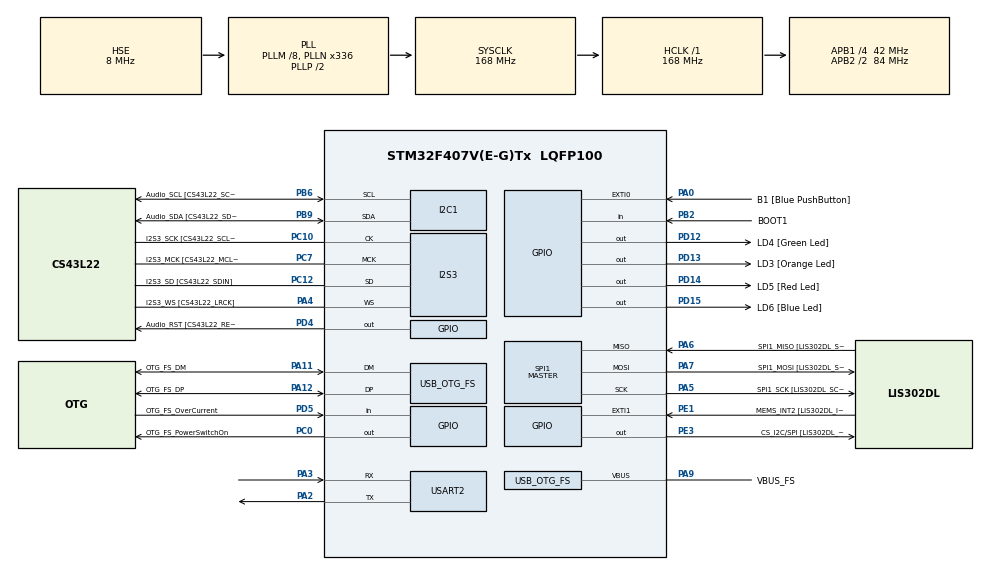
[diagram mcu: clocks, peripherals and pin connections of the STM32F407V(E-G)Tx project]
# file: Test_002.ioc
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I2S3.AudioFreq-Half_Duplex_Master=I2S_AUDIOFREQ_96K
I2S3.ErrorAudioFreq=-2.34 %
I2S3.ErrorAudioFreq-Half_Duplex_Master=0.8 %
I2S3.FullDuplexMode=I2S_FULLDUPLEXMODE_DISABLE
I2S3.Instance=SPI$Index
I2S3.RealAudioFreq=93.75 KHz
I2S3.RealAudioFreq-Half_Duplex_Master=96.774 KHz
I2S3.VirtualMode=I2S_MODE_MASTER
Mcu.Family=STM32F4
Mcu.Name=STM32F407V(E-G)Tx
Mcu.Package=LQFP100
NVIC.OTG_FS_IRQn=true\:0\:0\:false\:false\:true\:true\:true
NVIC.PriorityGroup=NVIC_PRIORITYGROUP_4
PA0-WKUP.GPIO_Label=B1 [Blue PushButton]
PA0-WKUP.GPIO_ModeDefaultEXTI=GPIO_MODE_EVT_RISING
PA0-WKUP.GPIO_PuPd=GPIO_NOPULL
PA0-WKUP.Signal=GPXTI0
PA10.GPIO_Label=OTG_FS_ID
PA10.GPIO_Mode=GPIO_MODE_AF_PP
PA10.GPIO_PuPd=GPIO_NOPULL
PA10.GPIO_Speed=GPIO_SPEED_FREQ_LOW
PA10.Signal=USB_OTG_FS_ID
PA11.GPIO_Label=OTG_FS_DM
PA11.GPIO_Mode=GPIO_MODE_AF_PP
PA11.GPIO_PuPd=GPIO_NOPULL
PA11.GPIO_Speed=GPIO_SPEED_FREQ_LOW
PA11.Mode=Host_Only
PA11.Signal=USB_OTG_FS_DM
PA12.GPIO_Label=OTG_FS_DP
PA12.GPIO_Mode=GPIO_MODE_AF_PP
PA12.GPIO_PuPd=GPIO_NOPULL
PA12.GPIO_Speed=GPIO_SPEED_FREQ_LOW
PA12.Mode=Host_Only
PA12.Signal=USB_OTG_FS_DP
PA13.GPIO_Label=SWDIO
PA13.Mode=Serial_Wire
PA13.Signal=SYS_JTMS-SWDIO
PA14.GPIO_Label=SWCLK
PA14.Mode=Serial_Wire
PA14.Signal=SYS_JTCK-SWCLK
PA2.Mode=Asynchronous
PA2.Signal=USART2_TX
PA3.Mode=Asynchronous
PA3.Signal=USART2_RX
PA4.GPIO_Label=I2S3_WS [CS43L22_LRCK]
PA4.GPIO_Mode=GPIO_MODE_AF_PP
PA4.GPIO_PuPd=GPIO_NOPULL
PA4.GPIO_Speed=GPIO_SPEED_FREQ_LOW
PA4.Mode=Half_Duplex_Master
PA4.Signal=I2S3_WS
PA5.GPIO_Label=SPI1_SCK [LIS302DL_SCL/SPC]
PA5.GPIO_Mode=GPIO_MODE_AF_PP
PA5.GPIO_PuPd=GPIO_NOPULL
PA5.GPIO_Speed=GPIO_SPEED_FREQ_LOW
PA5.Mode=Full_Duplex_Master
PA5.Signal=SPI1_SCK
PA6.GPIO_Label=SPI1_MISO [LIS302DL_SDO]
PA6.GPIO_Mode=GPIO_MODE_AF_PP
PA6.GPIO_PuPd=GPIO_NOPULL
PA6.GPIO_Speed=GPIO_SPEED_FREQ_LOW
PA6.Mode=Full_Duplex_Master
PA6.Signal=SPI1_MISO
PA7.GPIO_Label=SPI1_MOSI [LIS302DL_SDA/SDI/SDO]
PA7.GPIO_Mode=GPIO_MODE_AF_PP
PA7.GPIO_PuPd=GPIO_NOPULL
PA7.GPIO_Speed=GPIO_SPEED_FREQ_LOW
PA7.Mode=Full_Duplex_Master
PA7.Signal=SPI1_MOSI
PA9.GPIO_Label=VBUS_FS
PA9.GPIO_Mode=GPIO_MODE_INPUT
PA9.GPIO_PuPd=GPIO_NOPULL
PA9.Mode=Activate_VBUS
PA9.Signal=USB_OTG_FS_VBUS
PB10.GPIO_Label=CLK_IN [MP45DT02_CLK]
PB10.GPIO_Mode=GPIO_MODE_AF_PP
PB10.GPIO_PuPd=GPIO_NOPULL
PB10.GPIO_Speed=GPIO_SPEED_FREQ_LOW
PB10.Signal=I2S2_CK
PB2.GPIO_Label=BOOT1
PB2.GPIO_Mode=GPIO_MODE_INPUT
PB2.GPIO_PuPd=GPIO_NOPULL
PB2.Signal=GPIO_Input
PB3.GPIO_Label=SWO
PB3.Signal=SYS_JTDO-SWO
PB6.GPIO_Label=Audio_SCL [CS43L22_SCL]
PB6.GPIO_Mode=GPIO_MODE_AF_OD
PB6.GPIO_PuPd=GPIO_NOPULL
PB6.GPIO_Speed=GPIO_SPEED_FREQ_LOW
PB6.Mode=I2C
PB6.Signal=I2C1_SCL
PB9.GPIO_Label=Audio_SDA [CS43L22_SDA]
PB9.GPIO_Mode=GPIO_MODE_AF_OD
PB9.GPIO_PuPd=GPIO_NOPULL
PB9.GPIO_Speed=GPIO_SPEED_FREQ_LOW
PB9.Mode=I2C
PB9.Signal=I2C1_SDA
PC0.GPIO_Label=OTG_FS_PowerSwitchOn
PC0.GPIO_PuPd=GPIO_NOPULL
PC0.GPIO_Speed=GPIO_SPEED_FREQ_LOW
PC0.PinState=GPIO_PIN_SET
PC0.Signal=GPIO_Output
PC10.GPIO_Label=I2S3_SCK [CS43L22_SCLK]
PC10.GPIO_Mode=GPIO_MODE_AF_PP
PC10.GPIO_PuPd=GPIO_NOPULL
PC10.GPIO_Speed=GPIO_SPEED_FREQ_LOW
PC10.Mode=Half_Duplex_Master
PC10.Signal=I2S3_CK
PC12.GPIO_Label=I2S3_SD [CS43L22_SDIN]
PC12.GPIO_Mode=GPIO_MODE_AF_PP
PC12.GPIO_PuPd=GPIO_NOPULL
PC12.GPIO_Speed=GPIO_SPEED_FREQ_LOW
PC12.Mode=Half_Duplex_Master
PC12.Signal=I2S3_SD
PC14-OSC32_IN.GPIO_Label=PC14-OSC32_IN
PC14-OSC32_IN.Mode=LSE-External-Oscillator
PC14-OSC32_IN.Signal=RCC_OSC32_IN
PC15-OSC32_OUT.GPIO_Label=PC15-OSC32_OUT
PC15-OSC32_OUT.Mode=LSE-External-Oscillator
PC15-OSC32_OUT.Signal=RCC_OSC32_OUT
PC3.GPIO_Label=PDM_OUT [MP45DT02_DOUT]
PC3.GPIO_Mode=GPIO_MODE_AF_PP
PC3.GPIO_PuPd=GPIO_NOPULL
PC3.GPIO_Speed=GPIO_SPEED_FREQ_LOW
PC3.Signal=I2S2_SD
PC7.GPIO_Label=I2S3_MCK [CS43L22_MCLK]
PC7.GPIO_Mode=GPIO_MODE_AF_PP
PC7.GPIO_PuPd=GPIO_NOPULL
PC7.GPIO_Speed=GPIO_SPEED_FREQ_LOW
PC7.Mode=Master_Clock_Activated
PC7.Signal=I2S3_MCK
PD12.GPIO_Label=LD4 [Green Led]
PD12.GPIO_PuPd=GPIO_NOPULL
PD12.GPIO_Speed=GPIO_SPEED_FREQ_LOW
PD12.Signal=GPIO_Output
PD13.GPIO_Label=LD3 [Orange Led]
PD13.GPIO_PuPd=GPIO_NOPULL
PD13.GPIO_Speed=GPIO_SPEED_FREQ_LOW
PD13.Signal=GPIO_Output
PD14.GPIO_Label=LD5 [Red Led]
PD14.GPIO_PuPd=GPIO_NOPULL
PD14.GPIO_Speed=GPIO_SPEED_FREQ_LOW
PD14.Signal=GPIO_Output
PD15.GPIO_Label=LD6 [Blue Led]
PD15.GPIO_PuPd=GPIO_NOPULL
PD15.GPIO_Speed=GPIO_SPEED_FREQ_LOW
PD15.Signal=GPIO_Output
PD4.GPIO_Label=Audio_RST [CS43L22_RESET]
PD4.GPIO_PuPd=GPIO_NOPULL
PD4.GPIO_Speed=GPIO_SPEED_FREQ_LOW
PD4.Signal=GPIO_Output
PD5.GPIO_Label=OTG_FS_OverCurrent
PD5.GPIO_Mode=GPIO_MODE_INPUT
PD5.GPIO_PuPd=GPIO_NOPULL
PD5.Signal=GPIO_Input
PE1.GPIO_Label=MEMS_INT2 [LIS302DL_INT2]
PE1.GPIO_ModeDefaultEXTI=GPIO_MODE_EVT_RISING
PE1.GPIO_PuPd=GPIO_NOPULL
PE1.Signal=GPXTI1
PE3.GPIO_Label=CS_I2C/SPI [LIS302DL_CS_I2C/SPI]
PE3.GPIO_PuPd=GPIO_NOPULL
PE3.GPIO_Speed=GPIO_SPEED_FREQ_LOW
PE3.Signal=GPIO_Output
PH0-OSC_IN.GPIO_Label=PH0-OSC_IN
PH0-OSC_IN.Mode=HSE-External-Oscillator
PH0-OSC_IN.Signal=RCC_OSC_IN
PH1-OSC_OUT.GPIO_Label=PH1-OSC_OUT
PH1-OSC_OUT.Mode=HSE-External-Oscillator
PH1-OSC_OUT.Signal=RCC_OSC_OUT
ProjectManager.HeapSize=0x200
ProjectManager.StackSize=0x400
ProjectManager.TargetToolchain=STM32CubeIDE
RCC.48MHZClocksFreq_Value=48000000
RCC.AHBFreq_Value=168000000
RCC.APB1CLKDivider=RCC_HCLK_DIV4
RCC.APB1Freq_Value=42000000
RCC.APB1TimFreq_Value=84000000
RCC.APB2CLKDivider=RCC_HCLK_DIV2
RCC.APB2Freq_Value=84000000
RCC.APB2TimFreq_Value=168000000
RCC.CortexFreq_Value=168000000
RCC.HCLKFreq_Value=168000000
RCC.HSE_VALUE=8000000
RCC.HSI_VALUE=16000000
RCC.PLLM=8
RCC.PLLN=336
RCC.PLLQ=7
RCC.SYSCLKFreq_VALUE=168000000
RCC.SYSCLKSource=RCC_SYSCLKSOURCE_PLLCLK
RCC.VCOOutputFreq_Value=336000000
SPI1.BaudRatePrescaler-Full_Duplex_Master=SPI_BAUDRATEPRESCALER_2
SPI1.CalculateBaudRate-Full_Duplex_Master=42.0 MBits/s
SPI1.Direction=SPI_DIRECTION_2LINES
SPI1.Mode=SPI_MODE_MASTER
SPI1.Mode-Full_Duplex_Master=SPI_MODE_MASTER
SPI1.VirtualType=VM_MASTER
USART2.VirtualMode=VM_ASYNC
USB_HOST.BSP.number=1
USB_HOST.USBH_HandleTypeDef-CDC_FS=hUsbHostFS
USB_HOST.USBH_USE_OS-CDC_FS=0
USB_HOST.VirtualModeFS=Cdc
USB_HOST0.BSP.STBoard=false
USB_HOST0.BSP.api=Unknown
USB_HOST0.BSP.i2caddr=0
USB_HOST0.BSP.i2creg=0
USB_HOST0.BSP.instance=PC0
USB_HOST0.BSP.ip=GPIO
USB_HOST0.BSP.mode=Output
USB_HOST0.BSP.name=Drive_VBUS_FS
USB_HOST0.BSP.solution=PC0
USB_OTG_FS.VirtualMode=Host_Only
USB_OTG_FS.phy_itface=HCD_PHY_EMBEDDED
VP_USB_HOST_VS_USB_HOST_CDC_FS.Mode=CDC_FS
board=STM32F407G-DISC1

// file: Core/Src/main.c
/* USER CODE BEGIN Header */
/**
  ******************************************************************************
  * @file           : main.c
  * @brief          : Main program body
  * Author          : Joao Nuno Carvalho and STM32CubeIDE Auto generated code.
  ******************************************************************************
  * Description     : This is project begin by auto generating the initial files
  *                   with the configurations made and then adding the code of
  *                   this small project.
  *                   To make this source code work, I had to solder 2 cable
  *                   connections between the main board microcontroller
  *                   STM32F407GV and the board programming microcontroller that
  *                   has a Virtual COM port that you can connect to the main PC
  *                   by using a Serial terminal program like Putty.
  *                   The program configures the GPIO's of the LED to make a
  *                   LED animation and the serial port to write and read a Menu
  *                   to the user, so it can choose the task to perform.
  *                   This can be used as a simple starting project using the
  *                   Virtual COM Port of the board.
  *                   For the 2 wire connections that you will have to solder,
  *                   see the Starting Manual of the board. I used a microscope
  *                   for doing it.
  *
  *
  * @attention
  *
  * <h2><center>&copy; Copyright (c) 2020 STMicroelectronics.
  * All rights reserved.</center></h2>
  *
  * This software component is licensed by ST under Ultimate Liberty license
  * SLA0044, the "License"; You may not use this file except in compliance with
  * the License. You may obtain a copy of the License at:
  *                             www.st.com/SLA0044
  *
  ******************************************************************************
  */
/* USER CODE END Header */

#include "main.h"
#include "usb_host.h"

/* USER CODE BEGIN Includes */
#include <stdio.h>
#include <string.h>

/* USER CODE END Includes */

/* USER CODE BEGIN PM */

#define MENU_1_INVALID      0
#define MENU_1_OPTION_1     1
#define MENU_1_OPTION_2     2
#define MENU_1_OPTION_3     3
#define MENU_1_OPTION_4     4

/* USER CODE END PM */

I2C_HandleTypeDef hi2c1;

I2S_HandleTypeDef hi2s3;

SPI_HandleTypeDef hspi1;

UART_HandleTypeDef huart2;

void SystemClock_Config(void);
static void MX_GPIO_Init(void);
static void MX_I2C1_Init(void);
static void MX_I2S3_Init(void);
static void MX_SPI1_Init(void);
static void MX_USART2_UART_Init(void);
void MX_USB_HOST_Process(void);

/* USER CODE BEGIN PFP */
void led_sequence(void);
int show_and_get_menu_1_options(void);
void print_UART2_output_TX_string(char * message);

/* USER CODE END PFP */

/* USER CODE BEGIN 0 */

char UART_msg[100] = {0};

/* USER CODE END 0 */

int main(void)
{

  /* MCU Configuration--------------------------------------------------------*/

  /* Reset of all peripherals, Initializes the Flash interface and the Systick. */
  HAL_Init();

  /* Configure the system clock */
  SystemClock_Config();

  /* Initialize all configured peripherals */
  MX_GPIO_Init();
  MX_I2C1_Init();
  MX_I2S3_Init();
  MX_SPI1_Init();
  MX_USB_HOST_Init();
  MX_USART2_UART_Init();

  /* Infinite loop */
  while (1)
  {
    MX_USB_HOST_Process();

    /* USER CODE BEGIN 3 */

    int menu_option = show_and_get_menu_1_options();

    sprintf(UART_msg, "Option selected: %d\n", menu_option);
    print_UART2_output_TX_string(UART_msg);

    // Declaration of an array of pointers to functions with a parameter void and returning a void.
    // Fill it with functions.
    void (* const arr_pointers_to_functions[]) (void) = {led_sequence, NULL, NULL, NULL};

    // Call the function pointer for the option selected.
    // Test if not Null, else call the correct index function.
    if (arr_pointers_to_functions[menu_option - 1] != NULL){
    	sprintf(UART_msg, "\nStarting LED animation...\n");
    	print_UART2_output_TX_string(UART_msg);

    	// Call the function, using the right function pointer.
    	(*(arr_pointers_to_functions[menu_option - 1])) ();

    	sprintf(UART_msg, "...ending LED animation.\n");
    	print_UART2_output_TX_string(UART_msg);
    } else {
    	sprintf(UART_msg, "Functionality not implemented!\n");
    	print_UART2_output_TX_string(UART_msg);
    }

	HAL_Delay(4000);

  }
  /* USER CODE END 3 */
}

void SystemClock_Config(void)
{
  RCC_OscInitTypeDef RCC_OscInitStruct = {0};
  RCC_ClkInitTypeDef RCC_ClkInitStruct = {0};
  RCC_PeriphCLKInitTypeDef PeriphClkInitStruct = {0};

  /** Configure the main internal regulator output voltage
  */
  __HAL_RCC_PWR_CLK_ENABLE();
  __HAL_PWR_VOLTAGESCALING_CONFIG(PWR_REGULATOR_VOLTAGE_SCALE1);
  /** Initializes the CPU, AHB and APB busses clocks
  */
  RCC_OscInitStruct.OscillatorType = RCC_OSCILLATORTYPE_HSE;
  RCC_OscInitStruct.HSEState = RCC_HSE_ON;
  RCC_OscInitStruct.PLL.PLLState = RCC_PLL_ON;
  RCC_OscInitStruct.PLL.PLLSource = RCC_PLLSOURCE_HSE;
  RCC_OscInitStruct.PLL.PLLM = 8;
  RCC_OscInitStruct.PLL.PLLN = 336;
  RCC_OscInitStruct.PLL.PLLP = RCC_PLLP_DIV2;
  RCC_OscInitStruct.PLL.PLLQ = 7;
  if (HAL_RCC_OscConfig(&RCC_OscInitStruct) != HAL_OK)
  {
    Error_Handler();
  }
  /** Initializes the CPU, AHB and APB busses clocks
  */
  RCC_ClkInitStruct.ClockType = RCC_CLOCKTYPE_HCLK|RCC_CLOCKTYPE_SYSCLK
                              |RCC_CLOCKTYPE_PCLK1|RCC_CLOCKTYPE_PCLK2;
  RCC_ClkInitStruct.SYSCLKSource = RCC_SYSCLKSOURCE_PLLCLK;
  RCC_ClkInitStruct.AHBCLKDivider = RCC_SYSCLK_DIV1;
  RCC_ClkInitStruct.APB1CLKDivider = RCC_HCLK_DIV4;
  RCC_ClkInitStruct.APB2CLKDivider = RCC_HCLK_DIV2;

  if (HAL_RCC_ClockConfig(&RCC_ClkInitStruct, FLASH_LATENCY_5) != HAL_OK)
  {
    Error_Handler();
  }
  PeriphClkInitStruct.PeriphClockSelection = RCC_PERIPHCLK_I2S;
  PeriphClkInitStruct.PLLI2S.PLLI2SN = 192;
  PeriphClkInitStruct.PLLI2S.PLLI2SR = 2;
  if (HAL_RCCEx_PeriphCLKConfig(&PeriphClkInitStruct) != HAL_OK)
  {
    Error_Handler();
  }
}

static void MX_I2C1_Init(void)
{

  hi2c1.Instance = I2C1;
  hi2c1.Init.ClockSpeed = 100000;
  hi2c1.Init.DutyCycle = I2C_DUTYCYCLE_2;
  hi2c1.Init.OwnAddress1 = 0;
  hi2c1.Init.AddressingMode = I2C_ADDRESSINGMODE_7BIT;
  hi2c1.Init.DualAddressMode = I2C_DUALADDRESS_DISABLE;
  hi2c1.Init.OwnAddress2 = 0;
  hi2c1.Init.GeneralCallMode = I2C_GENERALCALL_DISABLE;
  hi2c1.Init.NoStretchMode = I2C_NOSTRETCH_DISABLE;
  if (HAL_I2C_Init(&hi2c1) != HAL_OK)
  {
    Error_Handler();
  }

}

static void MX_I2S3_Init(void)
{

  hi2s3.Instance = SPI3;
  hi2s3.Init.Mode = I2S_MODE_MASTER_TX;
  hi2s3.Init.Standard = I2S_STANDARD_PHILIPS;
  hi2s3.Init.DataFormat = I2S_DATAFORMAT_16B;
  hi2s3.Init.MCLKOutput = I2S_MCLKOUTPUT_ENABLE;
  hi2s3.Init.AudioFreq = I2S_AUDIOFREQ_96K;
  hi2s3.Init.CPOL = I2S_CPOL_LOW;
  hi2s3.Init.ClockSource = I2S_CLOCK_PLL;
  hi2s3.Init.FullDuplexMode = I2S_FULLDUPLEXMODE_DISABLE;
  if (HAL_I2S_Init(&hi2s3) != HAL_OK)
  {
    Error_Handler();
  }

}

static void MX_SPI1_Init(void)
{

  /* SPI1 parameter configuration*/
  hspi1.Instance = SPI1;
  hspi1.Init.Mode = SPI_MODE_MASTER;
  hspi1.Init.Direction = SPI_DIRECTION_2LINES;
  hspi1.Init.DataSize = SPI_DATASIZE_8BIT;
  hspi1.Init.CLKPolarity = SPI_POLARITY_LOW;
  hspi1.Init.CLKPhase = SPI_PHASE_1EDGE;
  hspi1.Init.NSS = SPI_NSS_SOFT;
  hspi1.Init.BaudRatePrescaler = SPI_BAUDRATEPRESCALER_2;
  hspi1.Init.FirstBit = SPI_FIRSTBIT_MSB;
  hspi1.Init.TIMode = SPI_TIMODE_DISABLE;
  hspi1.Init.CRCCalculation = SPI_CRCCALCULATION_DISABLE;
  hspi1.Init.CRCPolynomial = 10;
  if (HAL_SPI_Init(&hspi1) != HAL_OK)
  {
    Error_Handler();
  }

}

static void MX_USART2_UART_Init(void)
{

  huart2.Instance = USART2;
  huart2.Init.BaudRate = 115200;
  huart2.Init.WordLength = UART_WORDLENGTH_8B;
  huart2.Init.StopBits = UART_STOPBITS_1;
  huart2.Init.Parity = UART_PARITY_NONE;
  huart2.Init.Mode = UART_MODE_TX_RX;
  huart2.Init.HwFlowCtl = UART_HWCONTROL_NONE;
  huart2.Init.OverSampling = UART_OVERSAMPLING_16;
  if (HAL_UART_Init(&huart2) != HAL_OK)
  {
    Error_Handler();
  }

}

static void MX_GPIO_Init(void)
{
  GPIO_InitTypeDef GPIO_InitStruct = {0};

  /* GPIO Ports Clock Enable */
  __HAL_RCC_GPIOE_CLK_ENABLE();
  __HAL_RCC_GPIOC_CLK_ENABLE();
  __HAL_RCC_GPIOH_CLK_ENABLE();
  __HAL_RCC_GPIOA_CLK_ENABLE();
  __HAL_RCC_GPIOB_CLK_ENABLE();
  __HAL_RCC_GPIOD_CLK_ENABLE();

  /*Configure GPIO pin Output Level */
  HAL_GPIO_WritePin(CS_I2C_SPI_GPIO_Port, CS_I2C_SPI_Pin, GPIO_PIN_RESET);

  /*Configure GPIO pin Output Level */
  HAL_GPIO_WritePin(OTG_FS_PowerSwitchOn_GPIO_Port, OTG_FS_PowerSwitchOn_Pin, GPIO_PIN_SET);

  /*Configure GPIO pin Output Level */
  HAL_GPIO_WritePin(GPIOD, LD4_Pin|LD3_Pin|LD5_Pin|LD6_Pin
                          |Audio_RST_Pin, GPIO_PIN_RESET);

  /*Configure GPIO pin : CS_I2C_SPI_Pin */
  GPIO_InitStruct.Pin = CS_I2C_SPI_Pin;
  GPIO_InitStruct.Mode = GPIO_MODE_OUTPUT_PP;
  GPIO_InitStruct.Pull = GPIO_NOPULL;
  GPIO_InitStruct.Speed = GPIO_SPEED_FREQ_LOW;
  HAL_GPIO_Init(CS_I2C_SPI_GPIO_Port, &GPIO_InitStruct);

  /*Configure GPIO pin : OTG_FS_PowerSwitchOn_Pin */
  GPIO_InitStruct.Pin = OTG_FS_PowerSwitchOn_Pin;
  GPIO_InitStruct.Mode = GPIO_MODE_OUTPUT_PP;
  GPIO_InitStruct.Pull = GPIO_NOPULL;
  GPIO_InitStruct.Speed = GPIO_SPEED_FREQ_LOW;
  HAL_GPIO_Init(OTG_FS_PowerSwitchOn_GPIO_Port, &GPIO_InitStruct);

  /*Configure GPIO pin : PDM_OUT_Pin */
  GPIO_InitStruct.Pin = PDM_OUT_Pin;
  GPIO_InitStruct.Mode = GPIO_MODE_AF_PP;
  GPIO_InitStruct.Pull = GPIO_NOPULL;
  GPIO_InitStruct.Speed = GPIO_SPEED_FREQ_LOW;
  GPIO_InitStruct.Alternate = GPIO_AF5_SPI2;
  HAL_GPIO_Init(PDM_OUT_GPIO_Port, &GPIO_InitStruct);

  /*Configure GPIO pin : B1_Pin */
  GPIO_InitStruct.Pin = B1_Pin;
  GPIO_InitStruct.Mode = GPIO_MODE_EVT_RISING;
  GPIO_InitStruct.Pull = GPIO_NOPULL;
  HAL_GPIO_Init(B1_GPIO_Port, &GPIO_InitStruct);

  /*Configure GPIO pin : BOOT1_Pin */
  GPIO_InitStruct.Pin = BOOT1_Pin;
  GPIO_InitStruct.Mode = GPIO_MODE_INPUT;
  GPIO_InitStruct.Pull = GPIO_NOPULL;
  HAL_GPIO_Init(BOOT1_GPIO_Port, &GPIO_InitStruct);

  /*Configure GPIO pin : CLK_IN_Pin */
  GPIO_InitStruct.Pin = CLK_IN_Pin;
  GPIO_InitStruct.Mode = GPIO_MODE_AF_PP;
  GPIO_InitStruct.Pull = GPIO_NOPULL;
  GPIO_InitStruct.Speed = GPIO_SPEED_FREQ_LOW;
  GPIO_InitStruct.Alternate = GPIO_AF5_SPI2;
  HAL_GPIO_Init(CLK_IN_GPIO_Port, &GPIO_InitStruct);

  /*Configure GPIO pins : LD4_Pin LD3_Pin LD5_Pin LD6_Pin
                           Audio_RST_Pin */
  GPIO_InitStruct.Pin = LD4_Pin|LD3_Pin|LD5_Pin|LD6_Pin
                          |Audio_RST_Pin;
  GPIO_InitStruct.Mode = GPIO_MODE_OUTPUT_PP;
  GPIO_InitStruct.Pull = GPIO_NOPULL;
  GPIO_InitStruct.Speed = GPIO_SPEED_FREQ_LOW;
  HAL_GPIO_Init(GPIOD, &GPIO_InitStruct);

  /*Configure GPIO pin : OTG_FS_OverCurrent_Pin */
  GPIO_InitStruct.Pin = OTG_FS_OverCurrent_Pin;
  GPIO_InitStruct.Mode = GPIO_MODE_INPUT;
  GPIO_InitStruct.Pull = GPIO_NOPULL;
  HAL_GPIO_Init(OTG_FS_OverCurrent_GPIO_Port, &GPIO_InitStruct);

  /*Configure GPIO pin : MEMS_INT2_Pin */
  GPIO_InitStruct.Pin = MEMS_INT2_Pin;
  GPIO_InitStruct.Mode = GPIO_MODE_EVT_RISING;
  GPIO_InitStruct.Pull = GPIO_NOPULL;
  HAL_GPIO_Init(MEMS_INT2_GPIO_Port, &GPIO_InitStruct);

}

/* USER CODE BEGIN 4 */

int show_and_get_menu_1_options(void){

	// Menu text to TX:
	char const * message_0 = "\n\n\n   Menu\n\n";
	char const * message_1 = "1. LED animation.\n";
	char const * message_2 = "2. Option 2.\n";
	char const * message_3 = "3. Option 3.\n";
	char const * message_4 = "4. Option 4.\n\n";
	char const * all_messages[] = {message_0, message_1, message_2, message_3, message_4 };
	uint32_t const timeout = 10*1000;

	// Clears/discards previous input chars RX.
	uint16_t const input_buffer_size = 100;
	uint8_t pData[input_buffer_size + 1];
	uint32_t const timeout_2 = 100;

	// Gets the RX option chars.
	uint32_t const timeout_3 = 500;  // 0.5 sec
	uint16_t const input_buffer_size_2 = 3;
	uint8_t pData_2[input_buffer_size_2 + 1];

	int option = 0;
	while(option == 0){
		// Transmit the Menu to TX.
		uint32_t all_messages_size = sizeof(all_messages) / sizeof(all_messages[0]);
		for(int i=0; i < all_messages_size; i++){
			HAL_UART_Transmit(&huart2, (uint8_t *) all_messages[i], (uint16_t) strlen(all_messages[i]), timeout);
		}

		// Clears/discards previous input chars.
		memset(pData, '\0', input_buffer_size);
		HAL_UART_Receive(&huart2, (uint8_t *) pData, input_buffer_size, timeout_2);

		while(option == 0){

			// Receive characters.
			memset(pData_2, '\0', input_buffer_size_2);
			HAL_UART_Receive(&huart2, (uint8_t *) pData_2, input_buffer_size_2, timeout_3);
			char input_char = pData_2[0];

			switch(input_char){
				case '1':
					option = 1;
					break;
				case '2':
					option = 2;
					break;
				case '3':
					option = 3;
					break;
				case '4':
					option = 4;
					break;
				default:
					break;
			}
		}
	}

	return option;
}

void UART_output_chars(void){
	// Example of function that outputs a string with UART2 TX.

	// uint8_t message[] = {'b','a','t','a','t','i','n','h','a','s','\n'};
	char * message = "batatinhas_2\n";
	uint32_t timeout = 10*1000;

	HAL_UART_Transmit(&huart2, (uint8_t *) message, (uint16_t) strlen(message), timeout);
	HAL_Delay(1000);
}

void print_UART2_output_TX_string(char * message){
	// Function that outputs a string with UART2 TX, msg has to be null terminated '\0'.

	// uint8_t message[] = {'b','a','t','a','t','i','n','h','a','s','\n'};
	// char * message = "batatinhas_2\n";

	uint32_t timeout = 10*1000;   // 10 seconds.
	HAL_UART_Transmit(&huart2, (uint8_t *) message, (uint16_t) strlen(message), timeout);
}

void led_sequence(void){
	uint16_t onLEDsAr[4]     = { LD3_Pin, LD5_Pin, LD6_Pin, LD4_Pin};
	uint16_t onLED           = 0;
	uint16_t onLEDCumulative = 0;
	const uint32_t delay1    = 350;   // ms
	const uint32_t delay2    = 150;   // ms
	const uint32_t delay_1s  = 1000;  // ms

	onLEDCumulative = 0;
	for(int i=0; i<5; i++){
		onLED = 0;
		for(int j=0; j<4; j++){
			onLED |= onLEDsAr[j];
			HAL_GPIO_WritePin(GPIOD, onLED, GPIO_PIN_SET);
			HAL_Delay(delay1);
			HAL_GPIO_WritePin(GPIOD, onLED, GPIO_PIN_RESET);
			HAL_Delay(delay1);
			HAL_GPIO_WritePin(GPIOD, onLEDCumulative, GPIO_PIN_SET);
			HAL_Delay(delay2);
			HAL_GPIO_WritePin(GPIOD, onLEDCumulative, GPIO_PIN_RESET);
			HAL_Delay(delay2);
		}
		if (i>0){
			onLEDCumulative |= onLEDsAr[i-1];
		}
	}
	HAL_Delay(delay_1s);
	onLED = onLEDsAr[0] | onLEDsAr[1] | onLEDsAr[2] | onLEDsAr[3];
	for (int i=0; i<4; i++) {
		HAL_GPIO_WritePin(GPIOD, onLED, GPIO_PIN_SET);
		HAL_Delay(delay2);
		HAL_GPIO_WritePin(GPIOD, onLED, GPIO_PIN_RESET);
		HAL_Delay(delay2);
	}
}

/* USER CODE END 4 */

void Error_Handler(void)
{
}

/************************ (C) COPYRIGHT STMicroelectronics *****END OF FILE****/
